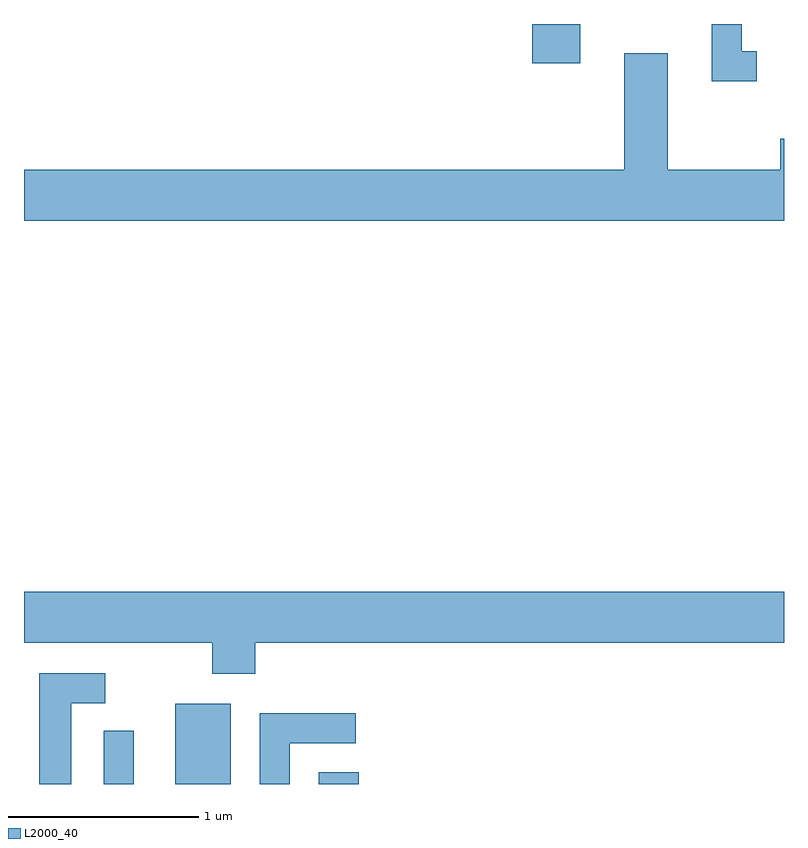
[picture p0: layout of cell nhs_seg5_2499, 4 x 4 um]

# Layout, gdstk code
import gdstk
lib = gdstk.Library(unit=1e-6, precision=1e-09)
def R(c, l, rs):  # rectangles x0, y0, x1, y1
    for r in rs: c.add(gdstk.rectangle(r[:2], r[2:], *l))
def P(c, l, *ps):  # polygons
    for p in ps: c.add(gdstk.Polygon(p, *l))
L2000_40 = (2000, 40)

nhs_seg5_2499 = lib.new_cell('nhs_seg5_2499')
R(nhs_seg5_2499, L2000_40, [(260.031,1436.072,260.189,1436.353), (260.406,1436.072,260.699,1436.494), (261.161,1436.072,261.374,1436.134), (262.286,1439.866,262.539,1440.072)])
P(nhs_seg5_2499, L2000_40, [(263.468,1439.929),(263.389,1439.929),(263.389,1440.072),(263.231,1440.072),(263.231,1439.771),(263.468,1439.771)],
  [(263.611,1439.469),(263.591,1439.469),(263.591,1439.304),(262.999,1439.304),(262.999,1439.919),(262.771,1439.919),(262.771,1439.304),(259.611,1439.304),(259.611,1439.036),(263.611,1439.036)],
  [(260.829,1436.816),(263.611,1436.816),(263.611,1437.084),(259.611,1437.084),(259.611,1436.816),(260.601,1436.816),(260.601,1436.651),(260.829,1436.651)],
  [(259.859,1436.496),(260.038,1436.496),(260.038,1436.654),(259.691,1436.654),(259.691,1436.072),(259.859,1436.072)],
  [(261.009,1436.286),(261.358,1436.286),(261.358,1436.444),(260.851,1436.444),(260.851,1436.072),(261.009,1436.072)])

lib.write_gds('nhs_seg5_2499.gds')
